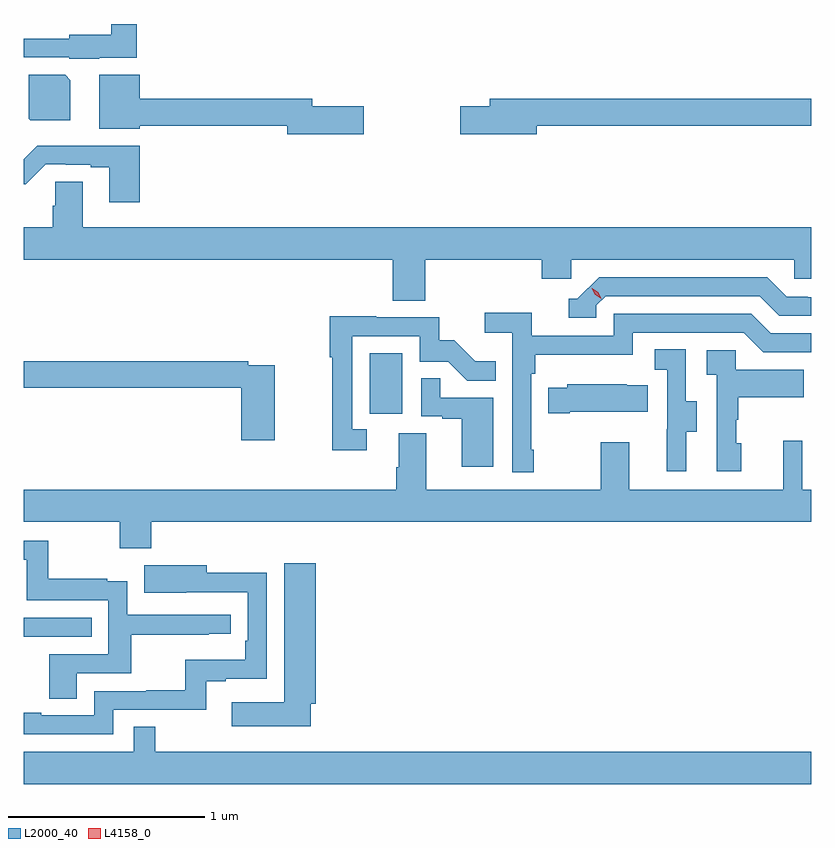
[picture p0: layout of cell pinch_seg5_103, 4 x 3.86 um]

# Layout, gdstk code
import gdstk
lib = gdstk.Library(unit=1e-6, precision=1e-09)
def R(c, l, rs):  # rectangles x0, y0, x1, y1
    for r in rs: c.add(gdstk.rectangle(r[:2], r[2:], *l))
def P(c, l, *ps):  # polygons
    for p in ps: c.add(gdstk.Polygon(p, *l))
L2000_40 = (2000, 40)
L4158_0 = (4158, 0)

pinch_seg5_103 = lib.new_cell('pinch_seg5_103')
R(pinch_seg5_103, L2000_40, [(1022.48,888.144,1022.825,888.24), (1024.238,889.278,1024.402,889.585)])
P(pinch_seg5_103, L2000_40, [(1022.862,891.086),(1023.053,891.086),(1023.053,891.257),(1022.925,891.257),(1022.925,891.202),(1022.712,891.202),(1022.712,891.183),(1022.48,891.183),(1022.48,891.087),(1022.712,891.087),(1022.712,891.08),(1022.862,891.08)],
  [(1024.207,890.84),(1023.946,890.84),(1023.946,890.876),(1023.07,890.876),(1023.07,890.998),(1022.864,890.998),(1022.864,890.726),(1023.07,890.726),(1023.07,890.74),(1023.818,890.74),(1023.818,890.698),(1024.207,890.698)],
  [(1022.716,890.972),(1022.69,890.998),(1022.504,890.998),(1022.504,890.776),(1022.512,890.768),(1022.716,890.768)],
  [(1025.086,890.74),(1026.48,890.74),(1026.48,890.876),(1024.847,890.876),(1024.847,890.84),(1024.698,890.84),(1024.698,890.698),(1025.086,890.698)],
  [(1023.068,890.639),(1022.549,890.639),(1022.48,890.57),(1022.48,890.442),(1022.49,890.442),(1022.592,890.544),(1022.692,890.544),(1022.692,890.541),(1022.819,890.541),(1022.819,890.529),(1022.915,890.529),(1022.915,890.352),(1023.068,890.352)],
  [(1024.52,890.06),(1025.111,890.06),(1025.111,889.962),(1025.262,889.962),(1025.262,890.06),(1026.393,890.06),(1026.393,889.962),(1026.48,889.962),(1026.48,890.224),(1022.779,890.224),(1022.779,890.456),(1022.64,890.456),(1022.64,890.334),(1022.627,890.334),(1022.627,890.224),(1022.48,890.224),(1022.48,890.06),(1024.355,890.06),(1024.355,889.852),(1024.52,889.852)],
  [(1025.388,889.827),(1025.436,889.875),(1026.219,889.875),(1026.318,889.776),(1026.48,889.776),(1026.48,889.869),(1026.462,889.869),(1026.462,889.872),(1026.355,889.872),(1026.256,889.971),(1025.403,889.971),(1025.292,889.86),(1025.249,889.86),(1025.249,889.764),(1025.388,889.764)],
  [(1025.071,889.093),(1025.058,889.093),(1025.058,889.481),(1025.078,889.481),(1025.078,889.577),(1025.574,889.577),(1025.574,889.689),(1026.138,889.689),(1026.237,889.59),(1026.48,889.59),(1026.48,889.686),(1026.274,889.686),(1026.175,889.785),(1025.478,889.785),(1025.478,889.674),(1025.06,889.674),(1025.06,889.79),(1024.821,889.79),(1024.821,889.688),(1024.962,889.688),(1024.962,888.981),(1025.071,888.981)],
  [(1024.222,889.197),(1024.149,889.197),(1024.149,889.671),(1024.491,889.671),(1024.491,889.542),(1024.635,889.542),(1024.733,889.444),(1024.877,889.444),(1024.877,889.543),(1024.773,889.543),(1024.666,889.65),(1024.59,889.65),(1024.59,889.767),(1024.271,889.767),(1024.271,889.772),(1024.033,889.772),(1024.033,889.564),(1024.048,889.564),(1024.048,889.092),(1024.222,889.092)],
  [(1025.845,889.186),(1025.899,889.186),(1025.899,889.341),(1025.844,889.341),(1025.844,889.604),(1025.685,889.604),(1025.685,889.501),(1025.748,889.501),(1025.748,889.197),(1025.747,889.197),(1025.747,888.984),(1025.845,888.984)],
  [(1026.124,889.128),(1026.099,889.128),(1026.099,889.247),(1026.109,889.247),(1026.109,889.361),(1026.443,889.361),(1026.443,889.501),(1026.096,889.501),(1026.096,889.599),(1025.949,889.599),(1025.949,889.475),(1026,889.475),(1026,888.984),(1026.124,888.984)],
  [(1023.754,889.524),(1023.62,889.524),(1023.62,889.544),(1022.48,889.544),(1022.48,889.408),(1023.584,889.408),(1023.584,889.143),(1023.754,889.143)],
  [(1024.864,889.359),(1024.595,889.359),(1024.595,889.457),(1024.5,889.457),(1024.5,889.263),(1024.607,889.263),(1024.607,889.251),(1024.706,889.251),(1024.706,889.008),(1024.864,889.008)],
  [(1025.254,889.286),(1025.651,889.286),(1025.651,889.423),(1025.543,889.423),(1025.543,889.426),(1025.241,889.426),(1025.241,889.408),(1025.143,889.408),(1025.143,889.279),(1025.254,889.279)],
  [(1023.128,888.728),(1026.48,888.728),(1026.48,888.892),(1026.435,888.892),(1026.435,889.141),(1026.338,889.141),(1026.338,888.892),(1025.557,888.892),(1025.557,889.132),(1025.41,889.132),(1025.41,888.892),(1024.525,888.892),(1024.525,889.178),(1024.385,889.178),(1024.385,889.004),(1024.373,889.004),(1024.373,888.892),(1022.48,888.892),(1022.48,888.728),(1022.968,888.728),(1022.968,888.593),(1023.128,888.593)],
  [(1022.749,887.958),(1023.026,887.958),(1023.026,888.154),(1023.419,888.154),(1023.419,888.159),(1023.532,888.159),(1023.532,888.255),(1023.006,888.255),(1023.006,888.427),(1022.903,888.427),(1022.903,888.439),(1022.605,888.439),(1022.605,888.633),(1022.48,888.633),(1022.48,888.536),(1022.494,888.536),(1022.494,888.33),(1022.91,888.33),(1022.91,888.054),(1022.609,888.054),(1022.609,887.83),(1022.749,887.83)],
  [(1023.938,887.804),(1023.964,887.804),(1023.964,888.517),(1023.803,888.517),(1023.803,887.812),(1023.537,887.812),(1023.537,887.69),(1023.938,887.69)],
  [(1022.934,887.772),(1023.408,887.772),(1023.408,887.919),(1023.505,887.919),(1023.505,887.931),(1023.714,887.931),(1023.714,888.47),(1023.409,888.47),(1023.409,888.508),(1023.091,888.508),(1023.091,888.368),(1023.305,888.368),(1023.305,888.369),(1023.618,888.369),(1023.618,888.124),(1023.605,888.124),(1023.605,888.028),(1023.3,888.028),(1023.3,887.873),(1023.103,887.873),(1023.103,887.868),(1022.838,887.868),(1022.838,887.745),(1022.569,887.745),(1022.569,887.758),(1022.48,887.758),(1022.48,887.649),(1022.934,887.649)],
  [(1026.48,887.56),(1023.148,887.56),(1023.148,887.687),(1023.039,887.687),(1023.039,887.56),(1022.48,887.56),(1022.48,887.396),(1026.48,887.396)])
P(pinch_seg5_103, L4158_0, [(1025.413,889.862),(1025.382,889.882),(1025.366,889.914),(1025.366,889.915),(1025.367,889.915),(1025.397,889.895),(1025.413,889.862),(1025.413,889.862)])

lib.write_gds('pinch_seg5_103.gds')
